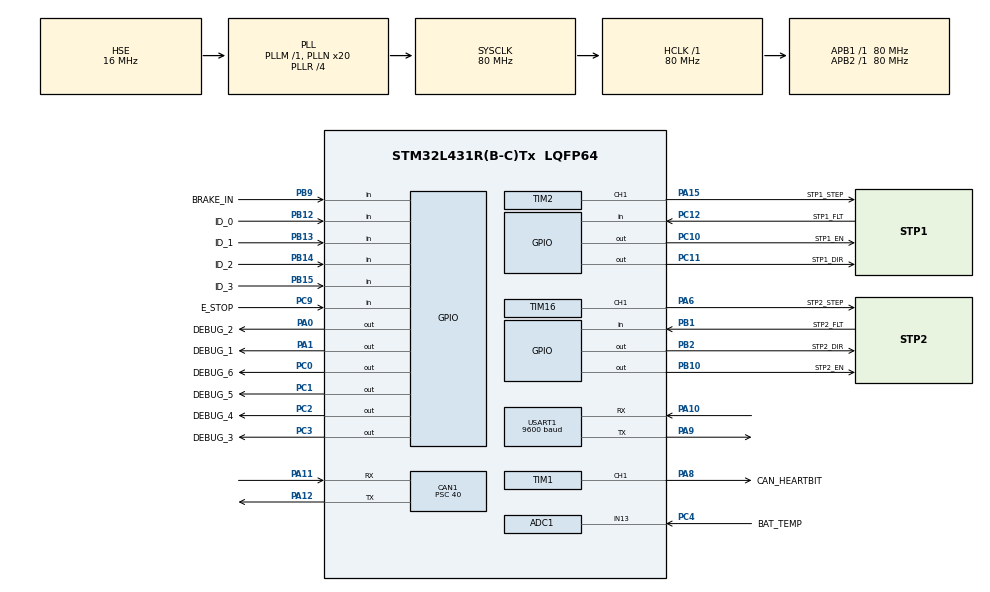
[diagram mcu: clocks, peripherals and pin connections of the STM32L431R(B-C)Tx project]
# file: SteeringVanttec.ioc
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ADC1.Channel-6\#ChannelRegularConversion=ADC_CHANNEL_TEMPSENSOR
ADC1.ContinuousConvMode=ENABLE
ADC1.NbrOfConversionFlag=1
ADC1.OffsetNumber-6\#ChannelRegularConversion=ADC_OFFSET_NONE
ADC1.Rank-6\#ChannelRegularConversion=1
ADC1.SamplingTime-6\#ChannelRegularConversion=ADC_SAMPLETIME_2CYCLES_5
ADC1.master=1
CAN1.BS1=CAN_BS1_13TQ
CAN1.BS2=CAN_BS2_2TQ
CAN1.CalculateBaudRate=125000
CAN1.CalculateTimeBit=8000
CAN1.CalculateTimeQuantum=500.0
CAN1.Prescaler=40
FREERTOS.Tasks01=defaultTask,32,128,default_task,Default,NULL,Dynamic,NULL,NULL
FREERTOS.configGENERATE_RUN_TIME_STATS=1
FREERTOS.configMAX_TASK_NAME_LEN=32
FREERTOS.configRECORD_STACK_HIGH_ADDRESS=1
FREERTOS.configTIMER_TASK_PRIORITY=6
FREERTOS.configTOTAL_HEAP_SIZE=30000
FREERTOS.configUSE_NEWLIB_REENTRANT=1
FREERTOS.configUSE_STATS_FORMATTING_FUNCTIONS=1
Mcu.Family=STM32L4
Mcu.Name=STM32L431R(B-C)Tx
Mcu.Package=LQFP64
NVIC.PriorityGroup=NVIC_PRIORITYGROUP_4
NVIC.TIM1_BRK_TIM15_IRQn=true\:15\:0\:false\:false\:true\:false\:false\:true\:true
NVIC.TIM1_UP_TIM16_IRQn=true\:5\:0\:false\:false\:true\:false\:false\:true\:true
NVIC.TIM2_IRQn=true\:5\:0\:false\:false\:true\:true\:true\:true\:true
NVIC.TimeBase=TIM1_BRK_TIM15_IRQn
NVIC.TimeBaseIP=TIM15
PA0.GPIO_Label=DEBUG_2
PA0.Signal=GPIO_Output
PA1.GPIO_Label=DEBUG_1
PA1.Signal=GPIO_Output
PA10.Mode=Asynchronous
PA10.Signal=USART1_RX
PA11.Mode=CAN_Activate
PA11.Signal=CAN1_RX
PA12.Mode=CAN_Activate
PA12.Signal=CAN1_TX
PA13\ (JTMS-SWDIO).Mode=Trace_Asynchronous_SW
PA13\ (JTMS-SWDIO).Signal=SYS_JTMS-SWDIO
PA14\ (JTCK-SWCLK).Mode=Trace_Asynchronous_SW
PA14\ (JTCK-SWCLK).Signal=SYS_JTCK-SWCLK
PA15\ (JTDI).GPIO_Label=STP1_STEP
PA15\ (JTDI).Signal=S_TIM2_CH1
PA6.GPIO_Label=STP2_STEP
PA6.Signal=S_TIM16_CH1
PA8.GPIO_Label=CAN_HEARTBIT
PA8.Signal=S_TIM1_CH1
PA9.Mode=Asynchronous
PA9.Signal=USART1_TX
PB1.GPIO_Label=STP2_FLT
PB1.Signal=GPIO_Input
PB10.GPIO_Label=STP2_EN
PB10.Signal=GPIO_Output
PB12.GPIO_Label=ID_0
PB12.Signal=GPIO_Input
PB13.GPIO_Label=ID_1
PB13.Signal=GPIO_Input
PB14.GPIO_Label=ID_2
PB14.Signal=GPIO_Input
PB15.GPIO_Label=ID_3
PB15.Signal=GPIO_Input
PB2.GPIO_Label=STP2_DIR
PB2.Signal=GPIO_Output
PB3\ (JTDO-TRACESWO).Mode=Trace_Asynchronous_SW
PB3\ (JTDO-TRACESWO).Signal=SYS_JTDO-SWO
PB9.GPIO_Label=BRAKE_IN
PB9.Signal=GPIO_Input
PC0.GPIO_Label=DEBUG_6
PC0.Signal=GPIO_Output
PC1.GPIO_Label=DEBUG_5
PC1.Signal=GPIO_Output
PC10.GPIO_Label=STP1_EN
PC10.Signal=GPIO_Output
PC11.GPIO_Label=STP1_DIR
PC11.Signal=GPIO_Output
PC12.GPIO_Label=STP1_FLT
PC12.Signal=GPIO_Input
PC2.GPIO_Label=DEBUG_4
PC2.Signal=GPIO_Output
PC3.GPIO_Label=DEBUG_3
PC3.Signal=GPIO_Output
PC4.GPIO_Label=BAT_TEMP
PC4.Signal=SharedAnalog_PC4
PC9.GPIO_Label=E_STOP
PC9.Signal=GPIO_Input
PH0-OSC_IN\ (PH0).Mode=HSE-External-Oscillator
PH0-OSC_IN\ (PH0).Signal=RCC_OSC_IN
PH1-OSC_OUT\ (PH1).Mode=HSE-External-Oscillator
PH1-OSC_OUT\ (PH1).Signal=RCC_OSC_OUT
ProjectManager.HeapSize=0x200
ProjectManager.StackSize=0x400
ProjectManager.TargetToolchain=Makefile
RCC.ADCFreq_Value=80000000
RCC.AHBFreq_Value=80000000
RCC.APB1Freq_Value=80000000
RCC.APB1TimFreq_Value=80000000
RCC.APB2Freq_Value=80000000
RCC.APB2TimFreq_Value=80000000
RCC.CortexFreq_Value=80000000
RCC.HCLKFreq_Value=80000000
RCC.HSE_VALUE=16000000
RCC.HSI48_VALUE=48000000
RCC.HSI_VALUE=16000000
RCC.LSE_VALUE=32768
RCC.MSI_VALUE=4000000
RCC.PLLN=20
RCC.PLLR=RCC_PLLR_DIV4
RCC.PLLSAI1N=20
RCC.PLLSAI1R=RCC_PLLR_DIV4
RCC.PLLSourceVirtual=RCC_PLLSOURCE_HSE
RCC.SYSCLKFreq_VALUE=80000000
RCC.SYSCLKSource=RCC_SYSCLKSOURCE_PLLCLK
RCC.VCOOutputFreq_Value=320000000
SH.S_TIM16_CH1.0=TIM16_CH1,PWM Generation1 CH1
SH.S_TIM1_CH1.0=TIM1_CH1,PWM Generation1 CH1
SH.S_TIM2_CH1.0=TIM2_CH1,PWM Generation1 CH1
SH.SharedAnalog_PC4.0=GPIO_Analog
SH.SharedAnalog_PC4.1=ADC1_IN13,IN13-Single-Ended
TIM1.Channel-PWM\ Generation1\ CH1=TIM_CHANNEL_1
TIM1.Period=100-1
TIM1.Prescaler=80-1
TIM16.Channel=TIM_CHANNEL_1
TIM16.Period=5000-1
TIM16.Prescaler=80-1
TIM2.Channel-PWM\ Generation1\ CH1=TIM_CHANNEL_1
TIM2.CounterMode=TIM_COUNTERMODE_DOWN
TIM2.Period=3500-1 
TIM2.Prescaler=80-1
USART1.BaudRate=9600
USART1.VirtualMode-Asynchronous=VM_ASYNC
VP_ADC1_TempSens_Input.Mode=IN-TempSens
VP_FREERTOS_VS_CMSIS_V2.Mode=CMSIS_V2
VP_SYS_VS_tim15.Mode=TIM15
VP_TIM16_VS_ClockSourceINT.Mode=Enable_Timer
VP_TIM1_VS_ClockSourceINT.Mode=Internal
VP_TIM2_VS_ClockSourceINT.Mode=Internal
board=custom

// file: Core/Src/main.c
/* USER CODE BEGIN Header */
/**
  ******************************************************************************
  * @file           : main.c
  * @brief          : Main program body
  ******************************************************************************
  * @attention
  *
  * Copyright (c) 2023 STMicroelectronics.
  * All rights reserved.
  *
  * This software is licensed under terms that can be found in the LICENSE file
  * in the root directory of this software component.
  * If no LICENSE file comes with this software, it is provided AS-IS.
  *
  ******************************************************************************
  */
/* USER CODE END Header */
#include "main.h"
#include "cmsis_os.h"

/* USER CODE BEGIN Includes */
#include "requirements.h"
#include "vanttec_canlib.h"
#include "vanttec_canlib_tx_task.h"
#include "vanttec_canlib_rx_task.h"
#include "vanttec_sdv_ids.h"
#include "encoder_task.h"
#include "stepper_task.h"
#include "stepper.h"
#include "math.h"
/* USER CODE END Includes */

ADC_HandleTypeDef hadc1;

CAN_HandleTypeDef hcan1;

TIM_HandleTypeDef htim1;
TIM_HandleTypeDef htim2;
TIM_HandleTypeDef htim16;

UART_HandleTypeDef huart1;

/* Definitions for defaultTask */
osThreadId_t defaultTaskHandle;
const osThreadAttr_t defaultTask_attributes = {
  .name = "defaultTask",
  .stack_size = 128 * 4,
  .priority = (osPriority_t) osPriorityAboveNormal,
};
/* USER CODE BEGIN PV */
Stepper steering_stepper;
Stepper braking_stepper;
static stepper_task_attrs steering_stepper_attrs;
static stepper_task_attrs braking_stepper_attrs;

osThreadId_t steering_stepper_task_id;
const osThreadAttr_t steering_stepper_task_attrs = {
  .name = "steeringStepperTask",
  .stack_size = 128 * 4,
  .priority = (osPriority_t) osPriorityAboveNormal,
};

osThreadId_t braking_stepper_task_id;
const osThreadAttr_t braking_stepper_task_attrs = {
  .name = "brakingStepperTask",
  .stack_size = 128 * 4,
  .priority = (osPriority_t) osPriorityAboveNormal,
};

osThreadId_t encoder_task_handle;
const osThreadAttr_t encoder_task_attrs = {
  .name = "encoderTask",
  .stack_size = 128 * 4,
  .priority = (osPriority_t) osPriorityAboveNormal,
};
/* USER CODE END PV */

void SystemClock_Config(void);
static void MX_GPIO_Init(void);
static void MX_USART1_UART_Init(void);
static void MX_TIM2_Init(void);
static void MX_ADC1_Init(void);
static void MX_CAN1_Init(void);
static void MX_TIM16_Init(void);
static void MX_TIM1_Init(void);
void default_task(void *argument);

int main(void)
{

  /* MCU Configuration--------------------------------------------------------*/

  /* Reset of all peripherals, Initializes the Flash interface and the Systick. */
  HAL_Init();

  /* Configure the system clock */
  SystemClock_Config();

  /* Initialize all configured peripherals */
  MX_GPIO_Init();
  MX_USART1_UART_Init();
  MX_TIM2_Init();
  MX_ADC1_Init();
  MX_CAN1_Init();
  MX_TIM16_Init();
  MX_TIM1_Init();
  /* USER CODE BEGIN 2 */
  int filters[] = {0x01A0, 0x0410, 0x0013};
  int filters_size = sizeof(filters) / sizeof(filters[0]);
  init_canlib(hcan1, VANTTEC_CAN_ID_STEPPER_TX, filters, filters_size);
  init_canlib_tx();
  init_canlib_rx();
  encoder_setup_can(&hcan1);
  canlib_init_generic_tasks();
  init_requirements_task();

  create_default_stepper_config(&steering_stepper.config);
  steering_stepper.config.step_timer = &htim2;
  steering_stepper.config.step_timer_channel = TIM_CHANNEL_1;
  steering_stepper.config.enable_pin = STP1_EN_Pin;
  steering_stepper.config.enable_port = STP1_EN_GPIO_Port;
  steering_stepper.config.direction_pin = STP1_DIR_Pin;
  steering_stepper.config.direction_port = STP1_DIR_GPIO_Port;
  steering_stepper.config.invert = false;
  steering_stepper.config.enable_encoder_correction = true;
  steering_stepper.config.gear_reduction = 44.0f/16.0f;
  steering_stepper.config.degs_per_step = 1.8f;
  steering_stepper.config.step_deadband = 10;
  steering_stepper.config.pulse_length = 100;
  steering_stepper.config.enable_soft_limit = false; //TODO softlimit broken
  steering_stepper.config.max_angle = (M_PI * 2) * 1.52;
  steering_stepper.config.min_angle = (M_PI * 2) * 1;
  __HAL_TIM_ENABLE_IT(&htim2, TIM_IT_CC1);
  if(stepper_initialize(&steering_stepper, 0) != HAL_OK){
    Error_Handler();
  }

  create_default_stepper_config(&braking_stepper.config);
  braking_stepper.config.step_timer = &htim16;
  braking_stepper.config.step_timer_channel = TIM_CHANNEL_1;
  braking_stepper.config.enable_pin = STP2_EN_Pin;
  braking_stepper.config.enable_port = STP2_EN_GPIO_Port;
  braking_stepper.config.direction_pin = STP2_DIR_Pin;
  braking_stepper.config.invert = true;
  braking_stepper.config.direction_port = STP2_DIR_GPIO_Port;
  braking_stepper.config.enable_encoder_correction = true;
  braking_stepper.config.gear_reduction = 1.0f;
  braking_stepper.config.degs_per_step = 1.8f;
  braking_stepper.config.step_deadband = 5;
  braking_stepper.config.pulse_length = 100;
  braking_stepper.config.enable_soft_limit = false;
  __HAL_TIM_ENABLE_IT(&htim16, TIM_IT_CC1);
  if(stepper_initialize(&braking_stepper, 0) != HAL_OK){
    Error_Handler();
  }

  /* USER CODE END 2 */

  /* Init scheduler */
  osKernelInitialize();

  /* Create the thread(s) */
  /* creation of defaultTask */
  defaultTaskHandle = osThreadNew(default_task, NULL, &defaultTask_attributes);

  /* USER CODE BEGIN RTOS_THREADS */
  encoder_task_handle = osThreadNew(encoder_task, (void*) &hcan1, &encoder_task_attrs);

  steering_stepper_attrs.stepper_id = 0;
  steering_stepper_attrs.stepper = &steering_stepper;
  steering_stepper_attrs.encoder_value = &g_ifm_encoder_position;
  steering_stepper_attrs.encoder_tick_value = &g_ifm_encoder_tick_last_update;
  steering_stepper_task_id = osThreadNew(steering_stepper_task, &steering_stepper_attrs, &steering_stepper_task_attrs);

  braking_stepper_attrs.stepper_id = 1;
  braking_stepper_attrs.stepper = &braking_stepper;
  braking_stepper_attrs.encoder_value = &g_briter_encoder_position;
  braking_stepper_attrs.encoder_tick_value = &g_briter_encoder_tick_last_update;
  braking_stepper_task_id = osThreadNew(braking_stepper_task, &braking_stepper_attrs, &braking_stepper_task_attrs);
  /* USER CODE END RTOS_THREADS */

  /* Start scheduler */
  osKernelStart();

  /* We should never get here as control is now taken by the scheduler */
  /* Infinite loop */
  while (1)
  {

  }
}

void SystemClock_Config(void)
{
  RCC_OscInitTypeDef RCC_OscInitStruct = {0};
  RCC_ClkInitTypeDef RCC_ClkInitStruct = {0};

  /** Configure the main internal regulator output voltage
  */
  if (HAL_PWREx_ControlVoltageScaling(PWR_REGULATOR_VOLTAGE_SCALE1) != HAL_OK)
  {
    Error_Handler();
  }

  /** Initializes the RCC Oscillators according to the specified parameters
  * in the RCC_OscInitTypeDef structure.
  */
  RCC_OscInitStruct.OscillatorType = RCC_OSCILLATORTYPE_HSE;
  RCC_OscInitStruct.HSEState = RCC_HSE_ON;
  RCC_OscInitStruct.PLL.PLLState = RCC_PLL_ON;
  RCC_OscInitStruct.PLL.PLLSource = RCC_PLLSOURCE_HSE;
  RCC_OscInitStruct.PLL.PLLM = 1;
  RCC_OscInitStruct.PLL.PLLN = 20;
  RCC_OscInitStruct.PLL.PLLP = RCC_PLLP_DIV7;
  RCC_OscInitStruct.PLL.PLLQ = RCC_PLLQ_DIV2;
  RCC_OscInitStruct.PLL.PLLR = RCC_PLLR_DIV4;
  if (HAL_RCC_OscConfig(&RCC_OscInitStruct) != HAL_OK)
  {
    Error_Handler();
  }

  /** Initializes the CPU, AHB and APB buses clocks
  */
  RCC_ClkInitStruct.ClockType = RCC_CLOCKTYPE_HCLK|RCC_CLOCKTYPE_SYSCLK
                              |RCC_CLOCKTYPE_PCLK1|RCC_CLOCKTYPE_PCLK2;
  RCC_ClkInitStruct.SYSCLKSource = RCC_SYSCLKSOURCE_PLLCLK;
  RCC_ClkInitStruct.AHBCLKDivider = RCC_SYSCLK_DIV1;
  RCC_ClkInitStruct.APB1CLKDivider = RCC_HCLK_DIV1;
  RCC_ClkInitStruct.APB2CLKDivider = RCC_HCLK_DIV1;

  if (HAL_RCC_ClockConfig(&RCC_ClkInitStruct, FLASH_LATENCY_4) != HAL_OK)
  {
    Error_Handler();
  }
}

static void MX_ADC1_Init(void)
{

  ADC_ChannelConfTypeDef sConfig = {0};

  /** Common config
  */
  hadc1.Instance = ADC1;
  hadc1.Init.ClockPrescaler = ADC_CLOCK_ASYNC_DIV1;
  hadc1.Init.Resolution = ADC_RESOLUTION_12B;
  hadc1.Init.DataAlign = ADC_DATAALIGN_RIGHT;
  hadc1.Init.ScanConvMode = ADC_SCAN_DISABLE;
  hadc1.Init.EOCSelection = ADC_EOC_SINGLE_CONV;
  hadc1.Init.LowPowerAutoWait = DISABLE;
  hadc1.Init.ContinuousConvMode = ENABLE;
  hadc1.Init.NbrOfConversion = 1;
  hadc1.Init.DiscontinuousConvMode = DISABLE;
  hadc1.Init.ExternalTrigConv = ADC_SOFTWARE_START;
  hadc1.Init.ExternalTrigConvEdge = ADC_EXTERNALTRIGCONVEDGE_NONE;
  hadc1.Init.DMAContinuousRequests = DISABLE;
  hadc1.Init.Overrun = ADC_OVR_DATA_PRESERVED;
  hadc1.Init.OversamplingMode = DISABLE;
  if (HAL_ADC_Init(&hadc1) != HAL_OK)
  {
    Error_Handler();
  }

  /** Configure Regular Channel
  */
  sConfig.Channel = ADC_CHANNEL_TEMPSENSOR;
  sConfig.Rank = ADC_REGULAR_RANK_1;
  sConfig.SamplingTime = ADC_SAMPLETIME_2CYCLES_5;
  sConfig.SingleDiff = ADC_SINGLE_ENDED;
  sConfig.OffsetNumber = ADC_OFFSET_NONE;
  sConfig.Offset = 0;
  if (HAL_ADC_ConfigChannel(&hadc1, &sConfig) != HAL_OK)
  {
    Error_Handler();
  }

}

static void MX_CAN1_Init(void)
{

  hcan1.Instance = CAN1;
  hcan1.Init.Prescaler = 40;
  hcan1.Init.Mode = CAN_MODE_NORMAL;
  hcan1.Init.SyncJumpWidth = CAN_SJW_1TQ;
  hcan1.Init.TimeSeg1 = CAN_BS1_13TQ;
  hcan1.Init.TimeSeg2 = CAN_BS2_2TQ;
  hcan1.Init.TimeTriggeredMode = DISABLE;
  hcan1.Init.AutoBusOff = DISABLE;
  hcan1.Init.AutoWakeUp = DISABLE;
  hcan1.Init.AutoRetransmission = DISABLE;
  hcan1.Init.ReceiveFifoLocked = DISABLE;
  hcan1.Init.TransmitFifoPriority = DISABLE;
  if (HAL_CAN_Init(&hcan1) != HAL_OK)
  {
    Error_Handler();
  }

}

static void MX_TIM1_Init(void)
{

  TIM_ClockConfigTypeDef sClockSourceConfig = {0};
  TIM_MasterConfigTypeDef sMasterConfig = {0};
  TIM_OC_InitTypeDef sConfigOC = {0};
  TIM_BreakDeadTimeConfigTypeDef sBreakDeadTimeConfig = {0};

  htim1.Instance = TIM1;
  htim1.Init.Prescaler = 80-1;
  htim1.Init.CounterMode = TIM_COUNTERMODE_UP;
  htim1.Init.Period = 100-1;
  htim1.Init.ClockDivision = TIM_CLOCKDIVISION_DIV1;
  htim1.Init.RepetitionCounter = 0;
  htim1.Init.AutoReloadPreload = TIM_AUTORELOAD_PRELOAD_DISABLE;
  if (HAL_TIM_Base_Init(&htim1) != HAL_OK)
  {
    Error_Handler();
  }
  sClockSourceConfig.ClockSource = TIM_CLOCKSOURCE_INTERNAL;
  if (HAL_TIM_ConfigClockSource(&htim1, &sClockSourceConfig) != HAL_OK)
  {
    Error_Handler();
  }
  if (HAL_TIM_PWM_Init(&htim1) != HAL_OK)
  {
    Error_Handler();
  }
  sMasterConfig.MasterOutputTrigger = TIM_TRGO_RESET;
  sMasterConfig.MasterOutputTrigger2 = TIM_TRGO2_RESET;
  sMasterConfig.MasterSlaveMode = TIM_MASTERSLAVEMODE_DISABLE;
  if (HAL_TIMEx_MasterConfigSynchronization(&htim1, &sMasterConfig) != HAL_OK)
  {
    Error_Handler();
  }
  sConfigOC.OCMode = TIM_OCMODE_PWM1;
  sConfigOC.Pulse = 0;
  sConfigOC.OCPolarity = TIM_OCPOLARITY_HIGH;
  sConfigOC.OCNPolarity = TIM_OCNPOLARITY_HIGH;
  sConfigOC.OCFastMode = TIM_OCFAST_DISABLE;
  sConfigOC.OCIdleState = TIM_OCIDLESTATE_RESET;
  sConfigOC.OCNIdleState = TIM_OCNIDLESTATE_RESET;
  if (HAL_TIM_PWM_ConfigChannel(&htim1, &sConfigOC, TIM_CHANNEL_1) != HAL_OK)
  {
    Error_Handler();
  }
  sBreakDeadTimeConfig.OffStateRunMode = TIM_OSSR_DISABLE;
  sBreakDeadTimeConfig.OffStateIDLEMode = TIM_OSSI_DISABLE;
  sBreakDeadTimeConfig.LockLevel = TIM_LOCKLEVEL_OFF;
  sBreakDeadTimeConfig.DeadTime = 0;
  sBreakDeadTimeConfig.BreakState = TIM_BREAK_DISABLE;
  sBreakDeadTimeConfig.BreakPolarity = TIM_BREAKPOLARITY_HIGH;
  sBreakDeadTimeConfig.BreakFilter = 0;
  sBreakDeadTimeConfig.Break2State = TIM_BREAK2_DISABLE;
  sBreakDeadTimeConfig.Break2Polarity = TIM_BREAK2POLARITY_HIGH;
  sBreakDeadTimeConfig.Break2Filter = 0;
  sBreakDeadTimeConfig.AutomaticOutput = TIM_AUTOMATICOUTPUT_DISABLE;
  if (HAL_TIMEx_ConfigBreakDeadTime(&htim1, &sBreakDeadTimeConfig) != HAL_OK)
  {
    Error_Handler();
  }
  HAL_TIM_MspPostInit(&htim1);

}

static void MX_TIM2_Init(void)
{

  TIM_ClockConfigTypeDef sClockSourceConfig = {0};
  TIM_MasterConfigTypeDef sMasterConfig = {0};
  TIM_OC_InitTypeDef sConfigOC = {0};

  htim2.Instance = TIM2;
  htim2.Init.Prescaler = 80-1;
  htim2.Init.CounterMode = TIM_COUNTERMODE_DOWN;
  htim2.Init.Period = 3500-1 ;
  htim2.Init.ClockDivision = TIM_CLOCKDIVISION_DIV1;
  htim2.Init.AutoReloadPreload = TIM_AUTORELOAD_PRELOAD_DISABLE;
  if (HAL_TIM_Base_Init(&htim2) != HAL_OK)
  {
    Error_Handler();
  }
  sClockSourceConfig.ClockSource = TIM_CLOCKSOURCE_INTERNAL;
  if (HAL_TIM_ConfigClockSource(&htim2, &sClockSourceConfig) != HAL_OK)
  {
    Error_Handler();
  }
  if (HAL_TIM_PWM_Init(&htim2) != HAL_OK)
  {
    Error_Handler();
  }
  sMasterConfig.MasterOutputTrigger = TIM_TRGO_RESET;
  sMasterConfig.MasterSlaveMode = TIM_MASTERSLAVEMODE_DISABLE;
  if (HAL_TIMEx_MasterConfigSynchronization(&htim2, &sMasterConfig) != HAL_OK)
  {
    Error_Handler();
  }
  sConfigOC.OCMode = TIM_OCMODE_PWM1;
  sConfigOC.Pulse = 0;
  sConfigOC.OCPolarity = TIM_OCPOLARITY_HIGH;
  sConfigOC.OCFastMode = TIM_OCFAST_DISABLE;
  if (HAL_TIM_PWM_ConfigChannel(&htim2, &sConfigOC, TIM_CHANNEL_1) != HAL_OK)
  {
    Error_Handler();
  }
  HAL_TIM_MspPostInit(&htim2);

}

static void MX_TIM16_Init(void)
{

  TIM_OC_InitTypeDef sConfigOC = {0};
  TIM_BreakDeadTimeConfigTypeDef sBreakDeadTimeConfig = {0};

  htim16.Instance = TIM16;
  htim16.Init.Prescaler = 80-1;
  htim16.Init.CounterMode = TIM_COUNTERMODE_UP;
  htim16.Init.Period = 1500-1; //Modify value to make the stepper go faster, lower -> faster
  htim16.Init.ClockDivision = TIM_CLOCKDIVISION_DIV1;
  htim16.Init.RepetitionCounter = 0;
  htim16.Init.AutoReloadPreload = TIM_AUTORELOAD_PRELOAD_DISABLE;
  if (HAL_TIM_Base_Init(&htim16) != HAL_OK)
  {
    Error_Handler();
  }
  if (HAL_TIM_PWM_Init(&htim16) != HAL_OK)
  {
    Error_Handler();
  }
  sConfigOC.OCMode = TIM_OCMODE_PWM1;
  sConfigOC.Pulse = 0;
  sConfigOC.OCPolarity = TIM_OCPOLARITY_HIGH;
  sConfigOC.OCNPolarity = TIM_OCNPOLARITY_HIGH;
  sConfigOC.OCFastMode = TIM_OCFAST_DISABLE;
  sConfigOC.OCIdleState = TIM_OCIDLESTATE_RESET;
  sConfigOC.OCNIdleState = TIM_OCNIDLESTATE_RESET;
  if (HAL_TIM_PWM_ConfigChannel(&htim16, &sConfigOC, TIM_CHANNEL_1) != HAL_OK)
  {
    Error_Handler();
  }
  sBreakDeadTimeConfig.OffStateRunMode = TIM_OSSR_DISABLE;
  sBreakDeadTimeConfig.OffStateIDLEMode = TIM_OSSI_DISABLE;
  sBreakDeadTimeConfig.LockLevel = TIM_LOCKLEVEL_OFF;
  sBreakDeadTimeConfig.DeadTime = 0;
  sBreakDeadTimeConfig.BreakState = TIM_BREAK_DISABLE;
  sBreakDeadTimeConfig.BreakPolarity = TIM_BREAKPOLARITY_HIGH;
  sBreakDeadTimeConfig.AutomaticOutput = TIM_AUTOMATICOUTPUT_DISABLE;
  if (HAL_TIMEx_ConfigBreakDeadTime(&htim16, &sBreakDeadTimeConfig) != HAL_OK)
  {
    Error_Handler();
  }
  HAL_TIM_MspPostInit(&htim16);

}

static void MX_USART1_UART_Init(void)
{

  huart1.Instance = USART1;
  huart1.Init.BaudRate = 9600;
  huart1.Init.WordLength = UART_WORDLENGTH_8B;
  huart1.Init.StopBits = UART_STOPBITS_1;
  huart1.Init.Parity = UART_PARITY_NONE;
  huart1.Init.Mode = UART_MODE_TX_RX;
  huart1.Init.HwFlowCtl = UART_HWCONTROL_NONE;
  huart1.Init.OverSampling = UART_OVERSAMPLING_16;
  huart1.Init.OneBitSampling = UART_ONE_BIT_SAMPLE_DISABLE;
  huart1.AdvancedInit.AdvFeatureInit = UART_ADVFEATURE_NO_INIT;
  if (HAL_UART_Init(&huart1) != HAL_OK)
  {
    Error_Handler();
  }

}

static void MX_GPIO_Init(void)
{
  GPIO_InitTypeDef GPIO_InitStruct = {0};

  /* GPIO Ports Clock Enable */
  __HAL_RCC_GPIOH_CLK_ENABLE();
  __HAL_RCC_GPIOC_CLK_ENABLE();
  __HAL_RCC_GPIOA_CLK_ENABLE();
  __HAL_RCC_GPIOB_CLK_ENABLE();

  /*Configure GPIO pin Output Level */
  HAL_GPIO_WritePin(GPIOC, DEBUG_6_Pin|DEBUG_5_Pin|DEBUG_4_Pin|DEBUG_3_Pin
                          |STP1_EN_Pin|STP1_DIR_Pin, GPIO_PIN_RESET);

  /*Configure GPIO pin Output Level */
  HAL_GPIO_WritePin(GPIOA, DEBUG_2_Pin|DEBUG_1_Pin, GPIO_PIN_RESET);

  /*Configure GPIO pin Output Level */
  HAL_GPIO_WritePin(GPIOB, STP2_DIR_Pin|STP2_EN_Pin, GPIO_PIN_RESET);

  /*Configure GPIO pins : DEBUG_6_Pin DEBUG_5_Pin DEBUG_4_Pin DEBUG_3_Pin
                           STP1_EN_Pin STP1_DIR_Pin */
  GPIO_InitStruct.Pin = DEBUG_6_Pin|DEBUG_5_Pin|DEBUG_4_Pin|DEBUG_3_Pin
                          |STP1_EN_Pin|STP1_DIR_Pin;
  GPIO_InitStruct.Mode = GPIO_MODE_OUTPUT_PP;
  GPIO_InitStruct.Pull = GPIO_NOPULL;
  GPIO_InitStruct.Speed = GPIO_SPEED_FREQ_LOW;
  HAL_GPIO_Init(GPIOC, &GPIO_InitStruct);

  /*Configure GPIO pins : DEBUG_2_Pin DEBUG_1_Pin */
  GPIO_InitStruct.Pin = DEBUG_2_Pin|DEBUG_1_Pin;
  GPIO_InitStruct.Mode = GPIO_MODE_OUTPUT_PP;
  GPIO_InitStruct.Pull = GPIO_NOPULL;
  GPIO_InitStruct.Speed = GPIO_SPEED_FREQ_LOW;
  HAL_GPIO_Init(GPIOA, &GPIO_InitStruct);

  /*Configure GPIO pins : STP2_FLT_Pin ID_0_Pin ID_1_Pin ID_2_Pin
                           ID_3_Pin BRAKE_IN_Pin */
  GPIO_InitStruct.Pin = STP2_FLT_Pin|ID_0_Pin|ID_1_Pin|ID_2_Pin
                          |ID_3_Pin|BRAKE_IN_Pin;
  GPIO_InitStruct.Mode = GPIO_MODE_INPUT;
  GPIO_InitStruct.Pull = GPIO_NOPULL;
  HAL_GPIO_Init(GPIOB, &GPIO_InitStruct);

  /*Configure GPIO pins : STP2_DIR_Pin STP2_EN_Pin */
  GPIO_InitStruct.Pin = STP2_DIR_Pin|STP2_EN_Pin;
  GPIO_InitStruct.Mode = GPIO_MODE_OUTPUT_PP;
  GPIO_InitStruct.Pull = GPIO_NOPULL;
  GPIO_InitStruct.Speed = GPIO_SPEED_FREQ_LOW;
  HAL_GPIO_Init(GPIOB, &GPIO_InitStruct);

  /*Configure GPIO pins : E_STOP_Pin STP1_FLT_Pin */
  GPIO_InitStruct.Pin = E_STOP_Pin|STP1_FLT_Pin;
  GPIO_InitStruct.Mode = GPIO_MODE_INPUT;
  GPIO_InitStruct.Pull = GPIO_NOPULL;
  HAL_GPIO_Init(GPIOC, &GPIO_InitStruct);

}

/* USER CODE BEGIN 4 */
void HAL_TIM_PWM_PulseFinishedCallback(TIM_HandleTypeDef *htim){
  stepper_irq_callback(&steering_stepper, htim);
  stepper_irq_callback(&braking_stepper, htim);
}
/* USER CODE END 4 */

void default_task(void *argument)
{
  /* USER CODE BEGIN 5 */
  /* Infinite loop */
  for(;;)
  {
    canlib_send_byte(VANTTEC_CAN_ID_HB, (uint8_t)0x42);
    osDelay(5000);
  }
  /* USER CODE END 5 */
}

void HAL_TIM_PeriodElapsedCallback(TIM_HandleTypeDef *htim)
{
  if (htim->Instance == TIM15) {
    HAL_IncTick();
  }
}

void Error_Handler(void)
{
  __disable_irq();
  while (1)
  {
  }
}
